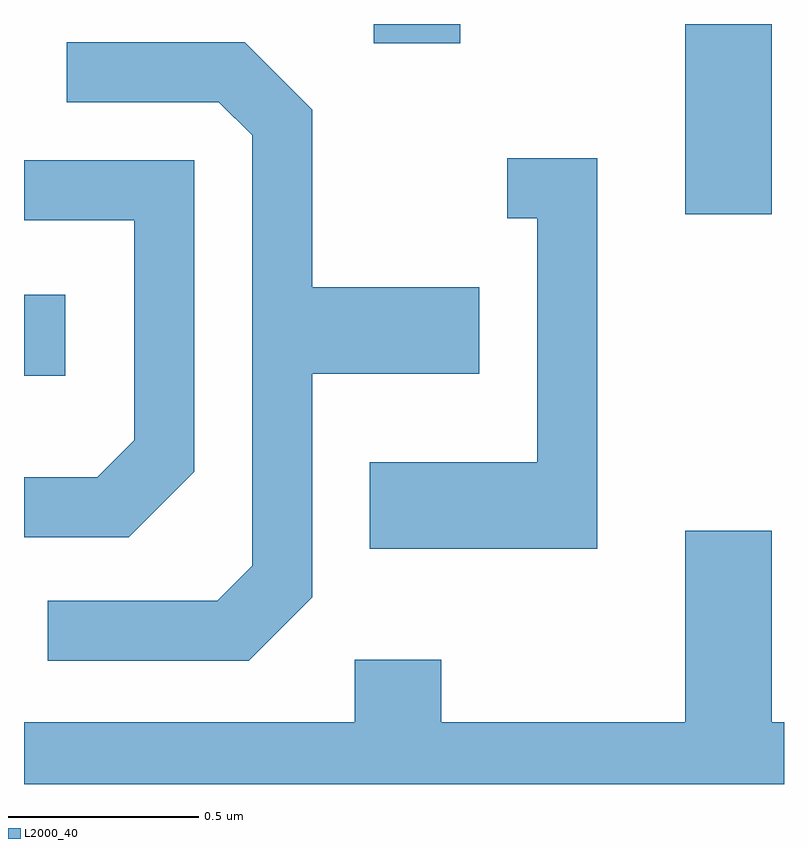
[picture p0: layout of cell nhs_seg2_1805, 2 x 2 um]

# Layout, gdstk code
import gdstk
lib = gdstk.Library(unit=1e-6, precision=1e-09)
def R(c, l, rs):  # rectangles x0, y0, x1, y1
    for r in rs: c.add(gdstk.rectangle(r[:2], r[2:], *l))
def P(c, l, *ps):  # polygons
    for p in ps: c.add(gdstk.Polygon(p, *l))
L2000_40 = (2000, 40)

nhs_seg2_1805 = lib.new_cell('nhs_seg2_1805')
R(nhs_seg2_1805, L2000_40, [(198.611,1002.876,198.719,1003.089), (200.351,1003.301,200.579,1003.802), (199.531,1003.751,199.759,1003.802)])
P(nhs_seg2_1805, L2000_40, [(199.369,1002.294),(199.369,1002.881),(199.809,1002.881),(199.809,1003.109),(199.369,1003.109),(199.369,1003.577),(199.192,1003.754),(198.723,1003.754),(198.723,1003.596),(199.124,1003.596),(199.211,1003.509),(199.211,1002.377),(199.119,1002.284),(198.673,1002.284),(198.673,1002.126),(199.202,1002.126)],
  [(200.119,1003.449),(199.883,1003.449),(199.883,1003.291),(199.961,1003.291),(199.961,1002.649),(199.521,1002.649),(199.521,1002.421),(200.119,1002.421)],
  [(199.059,1002.624),(199.059,1003.444),(198.611,1003.444),(198.611,1003.286),(198.901,1003.286),(198.901,1002.707),(198.804,1002.609),(198.611,1002.609),(198.611,1002.451),(198.887,1002.451)],
  [(200.611,1001.964),(200.579,1001.964),(200.579,1002.469),(200.351,1002.469),(200.351,1001.964),(199.709,1001.964),(199.709,1002.129),(199.481,1002.129),(199.481,1001.964),(198.611,1001.964),(198.611,1001.802),(200.611,1001.802)])

lib.write_gds('nhs_seg2_1805.gds')
